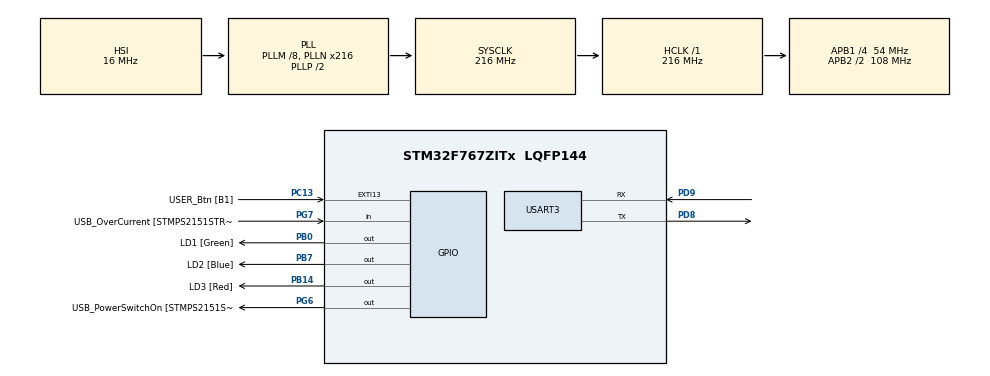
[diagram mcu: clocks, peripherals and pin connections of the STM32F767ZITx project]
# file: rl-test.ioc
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CORTEX_M7.CPU_DCache=Enabled
CORTEX_M7.CPU_ICache=Enabled
Mcu.Family=STM32F7
Mcu.Name=STM32F767ZITx
Mcu.Package=LQFP144
NVIC.PriorityGroup=NVIC_PRIORITYGROUP_4
PA13.Mode=Serial_Wire
PA13.Signal=SYS_JTMS-SWDIO
PA14.Mode=Serial_Wire
PA14.Signal=SYS_JTCK-SWCLK
PB0.GPIO_Label=LD1 [Green]
PB0.Signal=GPIO_Output
PB14.GPIO_Label=LD3 [Red]
PB14.Signal=GPIO_Output
PB7.GPIO_Label=LD2 [Blue]
PB7.Signal=GPIO_Output
PC13.GPIO_Label=USER_Btn [B1]
PC13.Signal=GPXTI13
PC14/OSC32_IN.Mode=LSE-External-Oscillator
PC14/OSC32_IN.Signal=RCC_OSC32_IN
PC15/OSC32_OUT.Mode=LSE-External-Oscillator
PC15/OSC32_OUT.Signal=RCC_OSC32_OUT
PD8.Mode=Asynchronous
PD8.Signal=USART3_TX
PD9.Mode=Asynchronous
PD9.Signal=USART3_RX
PG6.GPIO_Label=USB_PowerSwitchOn [STMPS2151STR_EN]
PG6.Signal=GPIO_Output
PG7.GPIO_Label=USB_OverCurrent [STMPS2151STR_FAULT]
PG7.Signal=GPIO_Input
PH0/OSC_IN.Mode=HSE-External-Oscillator
PH0/OSC_IN.Signal=RCC_OSC_IN
PH1/OSC_OUT.Mode=HSE-External-Oscillator
PH1/OSC_OUT.Signal=RCC_OSC_OUT
ProjectManager.HeapSize=0x200
ProjectManager.StackSize=0x800
ProjectManager.TargetToolchain=MDK-ARM V5.27
RCC.48MHZClocksFreq_Value=24000000
RCC.AHBFreq_Value=216000000
RCC.APB1CLKDivider=RCC_HCLK_DIV4
RCC.APB1Freq_Value=54000000
RCC.APB1TimFreq_Value=108000000
RCC.APB2CLKDivider=RCC_HCLK_DIV2
RCC.APB2Freq_Value=108000000
RCC.APB2TimFreq_Value=216000000
RCC.CortexFreq_Value=216000000
RCC.HCLKFreq_Value=216000000
RCC.HSE_VALUE=16000000
RCC.HSI_VALUE=16000000
RCC.PLLM=8
RCC.PLLMUL=RCC_PLL_MUL9
RCC.PLLN=216
RCC.PRESCALERUSB=RCC_USBCLKSOURCE_PLL_DIV1_5
RCC.SYSCLKFreq_VALUE=216000000
RCC.SYSCLKSource=RCC_SYSCLKSOURCE_PLLCLK
RCC.SYSCLKSourceVirtual=RCC_SYSCLKSOURCE_PLLCLK
RCC.USBFreq_Value=216000000
RCC.VCOOutputFreq_Value=432000000
STMicroelectronics.X-CUBE-AI.5.2.0.ActivationBufferSizeList=1052
STMicroelectronics.X-CUBE-AI.5.2.0.ArtificialOoIntelligenceJjXAaCUBEAaAI.cmp_version0=5.2.0
STMicroelectronics.X-CUBE-AI.5.2.0.ArtificialOoIntelligenceJjXAaCUBEAaAI.component0=Artificial Intelligence
STMicroelectronics.X-CUBE-AI.5.2.0.ArtificialOoIntelligenceJjXAaCUBEAaAI.componentDoc0=nofile
STMicroelectronics.X-CUBE-AI.5.2.0.ArtificialOoIntelligenceJjXAaCUBEAaAI.description0=AI Core,Artificial Intelligence for STM32
STMicroelectronics.X-CUBE-AI.5.2.0.ArtificialOoIntelligenceJjXAaCUBEAaAI.diagnostic0=This component should operate correctly.
STMicroelectronics.X-CUBE-AI.5.2.0.ArtificialOoIntelligenceJjXAaCUBEAaAI.documentation0=Documentation/index.html
STMicroelectronics.X-CUBE-AI.5.2.0.ArtificialOoIntelligenceJjXAaCUBEAaAI.group0=Core
STMicroelectronics.X-CUBE-AI.5.2.0.ArtificialOoIntelligenceJjXAaCUBEAaAI.paramName0=XAaCUBEAaAICcArtificialOoIntelligenceJjCore
STMicroelectronics.X-CUBE-AI.5.2.0.ArtificialOoIntelligenceJjXAaCUBEAaAI.sevirity0=none
STMicroelectronics.X-CUBE-AI.5.2.0.ArtificialOoIntelligenceJjXAaCUBEAaAI_bundle=X-CUBE-AI
STMicroelectronics.X-CUBE-AI.5.2.0.ArtificialOoIntelligenceJjXAaCUBEAaAI_class=ArtificialOoIntelligence
STMicroelectronics.X-CUBE-AI.5.2.0.ArtificialOoIntelligenceJjXAaCUBEAaAI_name=X-CUBE-AI
STMicroelectronics.X-CUBE-AI.5.2.0.ArtificialOoIntelligenceJjXAaCUBEAaAI_size=1
STMicroelectronics.X-CUBE-AI.5.2.0.ArtificialOoIntelligenceJjXAaCUBEAaAI_vendor=STMicroelectronics
STMicroelectronics.X-CUBE-AI.5.2.0.ArtificialOoIntelligenceJjXAaCUBEAaAI_version=5.2.0
STMicroelectronics.X-CUBE-AI.5.2.0.HeapSize=0x200
STMicroelectronics.X-CUBE-AI.5.2.0.InternalRamActivationBufferMaxSize=AI_ZEPHYRUS_NETWORK_DATA_ACTIVATIONS_SIZE
STMicroelectronics.X-CUBE-AI.5.2.0.LatestDirectoryUsed-74f45e24488c60db5654ed647c01e4a0a6cbb15d26c9d86695b8b70995334cff=C\:\\Users\\hugoc\\Desktop\\Notebook v1
STMicroelectronics.X-CUBE-AI.5.2.0.MaximumNumberOfInputLayer=1
STMicroelectronics.X-CUBE-AI.5.2.0.MaximumNumberOfOutputLayer=2
STMicroelectronics.X-CUBE-AI.5.2.0.MaximumSizeOfInputLayer=AI_ZEPHYRUS_NETWORK_IN_1_SIZE_BYTES
STMicroelectronics.X-CUBE-AI.5.2.0.MaximumSizeOfOutputLayer=AI_ZEPHYRUS_NETWORK_OUT_1_SIZE_BYTES,AI_ZEPHYRUS_NETWORK_OUT_2_SIZE_BYTES
STMicroelectronics.X-CUBE-AI.5.2.0.ModelActualCompression-74f45e24488c60db5654ed647c01e4a0a6cbb15d26c9d86695b8b70995334cff=0.0
STMicroelectronics.X-CUBE-AI.5.2.0.ModelCompression-74f45e24488c60db5654ed647c01e4a0a6cbb15d26c9d86695b8b70995334cff=1
STMicroelectronics.X-CUBE-AI.5.2.0.ModelFlashOccupation-74f45e24488c60db5654ed647c01e4a0a6cbb15d26c9d86695b8b70995334cff=4108
STMicroelectronics.X-CUBE-AI.5.2.0.ModelHashList=74f45e24488c60db5654ed647c01e4a0a6cbb15d26c9d86695b8b70995334cff
STMicroelectronics.X-CUBE-AI.5.2.0.ModelKind-74f45e24488c60db5654ed647c01e4a0a6cbb15d26c9d86695b8b70995334cff=TFLITE
STMicroelectronics.X-CUBE-AI.5.2.0.ModelMacc-74f45e24488c60db5654ed647c01e4a0a6cbb15d26c9d86695b8b70995334cff=1024
STMicroelectronics.X-CUBE-AI.5.2.0.ModelName-74f45e24488c60db5654ed647c01e4a0a6cbb15d26c9d86695b8b70995334cff=zephyrus_network
STMicroelectronics.X-CUBE-AI.5.2.0.ModelNameList=zephyrus_network
STMicroelectronics.X-CUBE-AI.5.2.0.ModelRamOccupation-74f45e24488c60db5654ed647c01e4a0a6cbb15d26c9d86695b8b70995334cff=1052
STMicroelectronics.X-CUBE-AI.5.2.0.ModelStructureFile-74f45e24488c60db5654ed647c01e4a0a6cbb15d26c9d86695b8b70995334cff=C\:\\Users\\hugoc\\Desktop\\Notebook v1\\zephyrus-rl-model.tflite
STMicroelectronics.X-CUBE-AI.5.2.0.ModelType-74f45e24488c60db5654ed647c01e4a0a6cbb15d26c9d86695b8b70995334cff=Saved model
STMicroelectronics.X-CUBE-AI.5.2.0.StackSize=0x800
STMicroelectronics.X-CUBE-AI.5.2.0.WorkingBufferStartAddrList=0xFFFFFFFF
STMicroelectronics.X-CUBE-AI.5.2.0.XAaCUBEAaAICcArtificialOoIntelligenceJjCore=true
STMicroelectronics.X-CUBE-AI.5.2.0_ArtificialOoIntelligenceJjApplication_RteComponentsize=0
STMicroelectronics.X-CUBE-AI.5.2.0_ArtificialOoIntelligenceJjXAaCUBEAaAI_RteComponentsize=0
STMicroelectronics.X-CUBE-AI.5.2.0_MwName0=X-CUBE-AI
STMicroelectronics.X-CUBE-AI.5.2.0_NumberOfMw=1
STMicroelectronics.X-CUBE-AI.5.2.0_description=Artificial Intelligence
STMicroelectronics.X-CUBE-AI.5.2.0_license=SLA0048.txt
TIM14.Period=65536-1
TIM14.Prescaler=108-1
USART3.VirtualMode-Asynchronous=VM_ASYNC
VP_CRC_VS_CRC.Mode=CRC_Activate
VP_STMicroelectronics.X-CUBE-AI_VS_ArtificialOoIntelligenceJjApplication_5.2.0.Mode=ArtificialOoIntelligenceJjApplication
VP_STMicroelectronics.X-CUBE-AI_VS_ArtificialOoIntelligenceJjXAaCUBEAaAI_5.2.0.Mode=ArtificialOoIntelligenceJjXAaCUBEAaAI
VP_TIM14_VS_ClockSourceINT.Mode=Enable_Timer
board=NUCLEO-F767ZI

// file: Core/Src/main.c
/* USER CODE BEGIN Header */
/**
  ******************************************************************************
  * @file           : main.c
  * @brief          : Main program body
  ******************************************************************************
  * @attention
  *
  * <h2><center>&copy; Copyright (c) 2021 STMicroelectronics.
  * All rights reserved.</center></h2>
  *
  * This software component is licensed by ST under Ultimate Liberty license
  * SLA0044, the "License"; You may not use this file except in compliance with
  * the License. You may obtain a copy of the License at:
  *                             www.st.com/SLA0044
  *
  ******************************************************************************
  */
/* USER CODE END Header */

#include "main.h"
#include "crc.h"
#include "tim.h"
#include "usart.h"
#include "gpio.h"
#include "app_x-cube-ai.h"
#include "zephyrus_network_data.h"

/* USER CODE BEGIN Includes */
#include "stdio.h"
#include "zephyrus_network.h"
#include "zephyrus_network_data.h"
/* USER CODE END Includes */

/* USER CODE BEGIN PTD */
char buf[50];
int buf_len = 0;
ai_error ai_err;
ai_i32 nbatch;
uint32_t timestamp;
float y_val;

static const ai_u8 s_zephyrus_network_weights[ 4108 ] = {
    0x87, 0x0a, 0xc0, 0xbc, 0x43, 0x7b, 0x8a, 0x3e, 0x29, 0x53,
    0xcd, 0x3d, 0x2f, 0xa0, 0x40, 0xbe, 0x0a, 0x84, 0xf6, 0xbd,
    0x7e, 0x25, 0x9e, 0xbd, 0x3f, 0x83, 0xed, 0x3d, 0xdc, 0x3a,
    0x82, 0xbd, 0x20, 0xfc, 0xf9, 0xbd, 0x0a, 0xf7, 0x5b, 0xbe,
    0x8b, 0x31, 0xd3, 0x3b, 0x92, 0x65, 0x02, 0xbe, 0x7d, 0x63,
    0x34, 0x3d, 0xb9, 0x79, 0x3d, 0xbd, 0x33, 0x42, 0x63, 0xbd,
    0x94, 0x5d, 0x1c, 0xbd, 0x33, 0xcb, 0xad, 0xbe, 0x13, 0x50,
    0x26, 0x3d, 0x4e, 0x49, 0x8e, 0xbd, 0xd4, 0x57, 0x0c, 0x3e,
    0xae, 0x45, 0xc4, 0x3c, 0x90, 0x61, 0x23, 0x3d, 0x48, 0x83,
    0x8f, 0xbd, 0xb1, 0x59, 0x14, 0xbe, 0x0c, 0x5a, 0x30, 0x3d,
    0x85, 0x8e, 0x56, 0xbd, 0xb7, 0xbe, 0xee, 0xbc, 0x07, 0x86,
    0x90, 0xbd, 0x13, 0x0b, 0xd5, 0x3d, 0xea, 0xff, 0xed, 0xbc,
    0xa5, 0x29, 0xe6, 0xbd, 0x9c, 0x4a, 0xd2, 0x3d, 0x43, 0x40,
    0x34, 0xbe, 0x5d, 0x94, 0xbc, 0xbc, 0xa1, 0xaf, 0xdf, 0x3d,
    0xf5, 0x8f, 0x52, 0xbe, 0xba, 0xf5, 0x30, 0xbe, 0xca, 0x7e,
    0x2a, 0xbe, 0x26, 0x68, 0x5d, 0xbd, 0x5f, 0xf9, 0x3e, 0x3d,
    0xc8, 0x64, 0x37, 0xbe, 0xfc, 0xcf, 0x8b, 0x3e, 0x62, 0x2a,
    0x3e, 0x3b, 0x01, 0x56, 0xde, 0x3d, 0xa0, 0x4b, 0x11, 0x3d,
    0xa3, 0xfc, 0xca, 0x3d, 0x99, 0xed, 0x45, 0xbd, 0xa6, 0xdd,
    0x89, 0x3d, 0x46, 0x86, 0x8c, 0xbe, 0x70, 0x85, 0x4f, 0x3e,
    0x3b, 0x3c, 0x9f, 0xbd, 0x57, 0xfc, 0x88, 0x3d, 0xbd, 0x13,
    0x1f, 0xbd, 0x6a, 0xec, 0x41, 0xbd, 0xad, 0x5e, 0xf6, 0x3c,
    0xba, 0x5f, 0xc9, 0xbc, 0x1d, 0x69, 0x80, 0xbd, 0xfd, 0x56,
    0x88, 0xbc, 0x5a, 0xf1, 0xe1, 0x3d, 0x38, 0x02, 0x3a, 0x3e,
    0x64, 0xc2, 0x51, 0x3e, 0x5d, 0x12, 0x62, 0xbe, 0x38, 0xe4,
    0x3b, 0xbe, 0xe4, 0xa7, 0xe9, 0x3d, 0x37, 0xf2, 0xa5, 0xbe,
    0x43, 0x4e, 0x2b, 0x3e, 0x0f, 0xd2, 0xe8, 0x3d, 0x7a, 0x39,
    0x62, 0xbc, 0x0e, 0x5b, 0xbf, 0xbd, 0xea, 0x7e, 0xe6, 0x3d,
    0x64, 0x9c, 0xd3, 0xbd, 0x58, 0x1d, 0x99, 0x3d, 0x6a, 0x90,
    0x00, 0xbb, 0xe1, 0xaf, 0x22, 0xbe, 0x63, 0x9f, 0xa6, 0xbb,
    0x07, 0x95, 0x94, 0xbc, 0xf8, 0x7a, 0x73, 0xbe, 0xb8, 0xec,
    0x6c, 0x3e, 0x9a, 0x22, 0x50, 0xbe, 0xaf, 0xee, 0x69, 0xbe,
    0x65, 0x88, 0x03, 0xbb, 0x0f, 0xd8, 0x88, 0x3e, 0x39, 0x00,
    0x8e, 0xbd, 0x67, 0x98, 0xfa, 0x3d, 0x6d, 0xf8, 0x22, 0xbd,
    0x1a, 0x0c, 0xf4, 0x3d, 0xde, 0x65, 0x0b, 0x3d, 0x4f, 0x6a,
    0x08, 0xbe, 0x91, 0xe9, 0x83, 0xbe, 0x77, 0x15, 0x61, 0x3e,
    0x70, 0x13, 0x3e, 0xbe, 0x07, 0x52, 0x2f, 0xbe, 0x64, 0x71,
    0xa8, 0x3c, 0xe3, 0xfc, 0x7c, 0xbe, 0x82, 0xb8, 0x9f, 0xbc,
    0xb4, 0x35, 0x95, 0xbd, 0x67, 0x1e, 0x5e, 0x3c, 0x6e, 0xed,
    0x01, 0x3e, 0x1c, 0x7c, 0x0e, 0xbd, 0xee, 0x27, 0x94, 0xbd,
    0x87, 0xab, 0x21, 0xbe, 0xda, 0xe5, 0x81, 0x3e, 0x51, 0x6b,
    0x1e, 0x3d, 0xc2, 0x10, 0x03, 0x3e, 0x87, 0xa9, 0x3a, 0xbd,
    0x98, 0x6c, 0xe9, 0x3c, 0xf6, 0x85, 0x1d, 0x3e, 0x0a, 0x28,
    0xda, 0xbd, 0x51, 0x1b, 0x3b, 0xbe, 0x91, 0x4d, 0x57, 0xbe,
    0xc6, 0x49, 0xb2, 0x3d, 0x77, 0x6b, 0x84, 0xbd, 0x01, 0x86,
    0xba, 0x3d, 0xf7, 0x78, 0x88, 0x3d, 0xaf, 0x9b, 0xf1, 0x3d,
    0x31, 0x4e, 0x6e, 0x3c, 0x4c, 0x5d, 0xad, 0xbd, 0x76, 0x86,
    0x4b, 0x3d, 0x0e, 0xb1, 0x51, 0x3b, 0x12, 0xf5, 0x1b, 0xbe,
    0x66, 0x16, 0x07, 0x3e, 0x5f, 0xd4, 0x4e, 0xbe, 0x19, 0x3c,
    0xd5, 0x3d, 0x07, 0x6e, 0x45, 0xbe, 0xb9, 0xb4, 0x2a, 0xbe,
    0x91, 0x76, 0x02, 0x3e, 0x9c, 0xb9, 0x44, 0x3c, 0x20, 0xf9,
    0xed, 0xbd, 0xde, 0xc4, 0x96, 0x3d, 0xec, 0x44, 0xbf, 0xbd,
    0x0c, 0x12, 0x16, 0x3e, 0xec, 0x75, 0xc6, 0x3d, 0x9d, 0x18,
    0xbd, 0xbd, 0x74, 0xff, 0xb0, 0xbd, 0xb5, 0xde, 0xea, 0xbd,
    0x4b, 0x0c, 0xd4, 0xbd, 0xe2, 0xc9, 0xbe, 0xbd, 0x33, 0xef,
    0x9e, 0x3d, 0x3f, 0x70, 0xc0, 0x3d, 0x4c, 0x3a, 0x16, 0xbe,
    0x63, 0x97, 0x53, 0xbe, 0x3c, 0xbe, 0xf6, 0x3d, 0x3d, 0xf0,
    0x29, 0x3d, 0x0a, 0xd9, 0x33, 0x3c, 0x28, 0x65, 0xb4, 0x3d,
    0x4f, 0x18, 0x5a, 0x3c, 0xcb, 0xdf, 0x19, 0x3e, 0x37, 0x73,
    0x2b, 0xbe, 0x05, 0x40, 0xcb, 0x3d, 0xea, 0xd2, 0xc4, 0x3d,
    0xb3, 0x18, 0x25, 0xbd, 0x92, 0x97, 0xa5, 0xbd, 0x0d, 0xd9,
    0x58, 0xbe, 0xb5, 0xae, 0xfd, 0xbc, 0x10, 0xda, 0x34, 0xbd,
    0xc9, 0xc3, 0x98, 0x3d, 0x60, 0x46, 0xe6, 0xbc, 0xa7, 0x4e,
    0x65, 0x3e, 0x91, 0xd4, 0xb4, 0x3d, 0xad, 0x69, 0x9c, 0xbd,
    0xa6, 0x4f, 0x2f, 0xbe, 0x73, 0x5a, 0x42, 0xbe, 0x6e, 0x4a,
    0x37, 0xbc, 0x11, 0x12, 0xdc, 0x3d, 0x98, 0xd1, 0x85, 0x3d,
    0xf4, 0xae, 0x61, 0x3d, 0xac, 0x8a, 0xc8, 0xbc, 0x06, 0x56,
    0x50, 0x3d, 0xae, 0x36, 0x0f, 0x3e, 0xac, 0x14, 0x75, 0xbe,
    0xa1, 0xf2, 0x51, 0x3d, 0x16, 0x42, 0x80, 0x3d, 0x83, 0x4b,
    0x74, 0xbe, 0xd5, 0xbb, 0x69, 0x3d, 0xed, 0x04, 0x12, 0xbe,
    0x6a, 0x59, 0x05, 0xbe, 0xf8, 0x86, 0x01, 0x3d, 0x85, 0xb4,
    0xc8, 0xba, 0x25, 0x1d, 0x1a, 0xbc, 0x81, 0xbc, 0x06, 0x3d,
    0x5d, 0x2f, 0x5e, 0x3c, 0xcb, 0x3d, 0x4f, 0xbe, 0x08, 0x1a,
    0x0c, 0xbd, 0x0e, 0x4d, 0x2b, 0x3e, 0x65, 0x2e, 0x9e, 0xbd,
    0xe8, 0x7c, 0x90, 0x3d, 0x73, 0xd9, 0x62, 0xbe, 0x89, 0x6c,
    0x86, 0xbe, 0x12, 0x32, 0x4f, 0xbe, 0xee, 0xb1, 0xc8, 0x3a,
    0x24, 0xe0, 0x19, 0x3c, 0x93, 0x06, 0x86, 0xbe, 0x7c, 0x74,
    0x3f, 0x3d, 0xac, 0x94, 0x33, 0xbc, 0x7f, 0x59, 0x1d, 0xbe,
    0x81, 0xa3, 0x81, 0x3e, 0x80, 0x75, 0x06, 0xbe, 0x94, 0x59,
    0x74, 0xbe, 0x70, 0x03, 0x47, 0xbc, 0x9a, 0xec, 0xf1, 0x3d,
    0x93, 0x6a, 0x3d, 0xbd, 0x89, 0x06, 0x94, 0xbd, 0xe3, 0x0e,
    0xcc, 0xbb, 0x14, 0x71, 0x5c, 0xbe, 0xb1, 0xdd, 0xf7, 0xbd,
    0xa5, 0x74, 0x12, 0x3d, 0xa8, 0x9b, 0x3a, 0xbe, 0x5f, 0xbc,
    0x59, 0xbd, 0x2d, 0x0c, 0x25, 0x3e, 0x3e, 0x0d, 0xca, 0xbb,
    0x32, 0xb9, 0x18, 0xbe, 0xb4, 0x38, 0x12, 0x3d, 0x4f, 0x42,
    0x11, 0x3d, 0xe4, 0xec, 0x6b, 0xbe, 0xf4, 0x35, 0x1b, 0x3b,
    0xea, 0xab, 0x93, 0x3d, 0x42, 0x36, 0x3c, 0xbe, 0x4c, 0xfd,
    0x17, 0xbb, 0x70, 0x73, 0x14, 0xbe, 0xe8, 0xe5, 0x00, 0x3e,
    0x01, 0x79, 0x60, 0x3d, 0xc8, 0x52, 0x75, 0x3d, 0xe4, 0x56,
    0x33, 0x3e, 0x3a, 0x8c, 0x5d, 0xbe, 0xef, 0x4e, 0xce, 0xbd,
    0x23, 0x4c, 0x46, 0x3e, 0x94, 0xdd, 0x7e, 0xbe, 0xf6, 0x4f,
    0x8e, 0xbe, 0x0f, 0x00, 0x42, 0xbe, 0x99, 0x2c, 0xe5, 0xbd,
    0xd2, 0x83, 0x0a, 0xbc, 0x74, 0xcd, 0x2b, 0xbe, 0x82, 0xb1,
    0x13, 0x3c, 0x8d, 0x83, 0x17, 0xbd, 0x91, 0x1c, 0x2d, 0x3e,
    0xaa, 0x56, 0x03, 0x3e, 0xa4, 0x78, 0x03, 0xbe, 0xb7, 0x53,
    0x85, 0xbe, 0x0f, 0xf0, 0x0a, 0x3e, 0xfd, 0x19, 0x16, 0xbe,
    0x95, 0x41, 0x1c, 0xbe, 0x14, 0x79, 0x11, 0xbd, 0x22, 0x6b,
    0xc7, 0x3d, 0x4e, 0xc0, 0x7c, 0xbe, 0x7d, 0xd1, 0x08, 0xbe,
    0x17, 0x2d, 0xb6, 0xbd, 0xab, 0x89, 0x20, 0xbe, 0x79, 0x88,
    0xbd, 0xbd, 0x94, 0x1f, 0x18, 0xbc, 0xda, 0xeb, 0x9a, 0x3d,
    0xa0, 0xb5, 0xf7, 0xbc, 0xc6, 0x0b, 0x8b, 0xbd, 0x87, 0xbc,
    0xa7, 0x3c, 0xec, 0xc6, 0xa3, 0x3c, 0x57, 0x1c, 0x24, 0xbd,
    0x34, 0x9d, 0xe2, 0x3d, 0xdb, 0x65, 0xee, 0xbd, 0x37, 0x7c,
    0x0b, 0xbe, 0x11, 0x64, 0x1a, 0xbe, 0x27, 0x87, 0xd2, 0x3d,
    0x9e, 0x79, 0x9b, 0xbd, 0x3a, 0x4f, 0x5c, 0xbe, 0xd8, 0x62,
    0x08, 0xbd, 0xce, 0xbf, 0xd7, 0x3c, 0x99, 0x8a, 0x8b, 0xbe,
    0x22, 0x9a, 0xde, 0xbd, 0xbd, 0x52, 0x44, 0xbe, 0xb7, 0xeb,
    0x76, 0xbe, 0x62, 0xca, 0xf9, 0x3b, 0x28, 0xd1, 0x8d, 0xbd,
    0xed, 0xc2, 0x58, 0xbd, 0xc4, 0x95, 0x3f, 0x3e, 0x28, 0x12,
    0xcd, 0x3d, 0x2e, 0xdd, 0xa9, 0xbd, 0x3a, 0xf6, 0x16, 0x3e,
    0xd6, 0x34, 0xbf, 0xbd, 0xfb, 0xcc, 0xc5, 0xbc, 0xb4, 0x0d,
    0x4d, 0x3e, 0x29, 0x01, 0xc9, 0x3d, 0xf2, 0xff, 0x41, 0xbd,
    0xf8, 0x77, 0x4e, 0xbe, 0xb2, 0xd5, 0x17, 0x3e, 0xe0, 0x14,
    0x4d, 0x3e, 0xc5, 0x65, 0xde, 0xbd, 0xd3, 0xc2, 0x25, 0xbe,
    0xfc, 0xcd, 0x95, 0x3d, 0x7b, 0x5a, 0xea, 0xbd, 0x20, 0x15,
    0x00, 0x3e, 0x02, 0x7d, 0x01, 0xbe, 0x32, 0x99, 0x63, 0x3e,
    0xbb, 0x11, 0x19, 0xbe, 0xc8, 0x1f, 0xce, 0xbb, 0x9e, 0x01,
    0x80, 0xbe, 0xf6, 0xc2, 0xa0, 0x3e, 0x43, 0x4f, 0x1f, 0xbd,
    0x64, 0xa1, 0xd7, 0x3c, 0xcf, 0x0e, 0x2e, 0xbd, 0x2b, 0x91,
    0x90, 0x3d, 0x6e, 0x29, 0xb5, 0xbd, 0x38, 0x11, 0x21, 0xbe,
    0xdf, 0x12, 0x9b, 0xbb, 0x02, 0x13, 0xfe, 0x3d, 0x06, 0x5f,
    0x06, 0xbd, 0x02, 0x35, 0x92, 0xbd, 0xa8, 0xe0, 0x8b, 0x3d,
    0x92, 0x3d, 0x11, 0x3e, 0x6e, 0x4c, 0xb3, 0x3d, 0x2d, 0xe7,
    0xb4, 0x3d, 0xde, 0x7b, 0x7c, 0xbe, 0xbb, 0x0d, 0x5b, 0x3e,
    0xfe, 0xea, 0x88, 0xbc, 0xae, 0x6c, 0x2d, 0xbe, 0x9e, 0x8d,
    0x0e, 0xbb, 0x67, 0xe3, 0x24, 0xbe, 0xd5, 0x1d, 0xa3, 0xbc,
    0xbf, 0x85, 0x2d, 0x3c, 0x08, 0x4e, 0xdc, 0x3d, 0xcf, 0xc4,
    0x83, 0x3d, 0x21, 0xc8, 0xe2, 0xbd, 0x63, 0xc0, 0x78, 0x3c,
    0xd3, 0x73, 0x8d, 0xbe, 0xd6, 0xbe, 0x8b, 0x3e, 0x6a, 0xf7,
    0x14, 0x3e, 0x94, 0x20, 0x06, 0x3e, 0x12, 0x11, 0xe4, 0xbc,
    0xe7, 0x3d, 0x07, 0xbe, 0x9a, 0x55, 0xc0, 0xbd, 0xa3, 0xe3,
    0xba, 0x3c, 0xbf, 0xc9, 0xaa, 0x3d, 0x04, 0xb0, 0x57, 0x3e,
    0xa6, 0xd5, 0x3f, 0xbe, 0x6a, 0x3d, 0x09, 0xbe, 0xc7, 0x3d,
    0x95, 0xbe, 0xfa, 0x80, 0xef, 0xbc, 0x87, 0x23, 0x37, 0x3e,
    0x41, 0x24, 0x1e, 0xbe, 0x81, 0x0e, 0x41, 0xbe, 0x46, 0x1e,
    0xcf, 0x3a, 0x94, 0x50, 0x41, 0x3d, 0xa0, 0xf5, 0xa2, 0x3d,
    0xc4, 0x8d, 0x24, 0xbe, 0x8b, 0x68, 0xe2, 0x3d, 0x61, 0x95,
    0xdb, 0x3d, 0xb3, 0x4d, 0x64, 0xbe, 0x6e, 0xd6, 0x0f, 0xbe,
    0x4e, 0x80, 0x6e, 0xbe, 0x65, 0xec, 0x60, 0xbd, 0xed, 0xaa,
    0x0b, 0x3d, 0xa5, 0x27, 0x3e, 0x3d, 0x3e, 0x61, 0x2b, 0x3e,
    0x09, 0x80, 0x8a, 0x3b, 0x41, 0xb0, 0x1f, 0xbe, 0x97, 0x6b,
    0xea, 0xbc, 0x66, 0x09, 0xa2, 0xbd, 0xf5, 0x4f, 0x17, 0x3d,
    0xaa, 0x9e, 0xc7, 0xbd, 0x9f, 0xb7, 0xa1, 0xbc, 0x84, 0x1d,
    0x4e, 0xbe, 0x6b, 0x23, 0x81, 0xbd, 0xfe, 0x02, 0x36, 0x3c,
    0x4e, 0x5b, 0x7d, 0xbe, 0x20, 0x6b, 0x06, 0x3e, 0x63, 0x4c,
    0xcc, 0xbd, 0x74, 0xee, 0x8f, 0xba, 0x14, 0xd5, 0x55, 0xbc,
    0x5b, 0x56, 0x8c, 0x3e, 0x32, 0xb3, 0x89, 0xbe, 0x51, 0x55,
    0x56, 0x3d, 0x50, 0xb1, 0xf0, 0xbd, 0x2a, 0xea, 0x28, 0xbd,
    0x2f, 0xc7, 0x89, 0x3d, 0xb7, 0x1c, 0x00, 0xbe, 0xa3, 0x05,
    0x7e, 0xbe, 0x35, 0x68, 0xd9, 0xbd, 0xbc, 0x56, 0xf2, 0xbc,
    0x42, 0x96, 0xaa, 0xbc, 0x1a, 0x05, 0x51, 0xbe, 0x97, 0xce,
    0x82, 0xbd, 0x79, 0xa5, 0x08, 0xbe, 0x8e, 0x96, 0x48, 0x3b,
    0xba, 0x4f, 0x75, 0x3d, 0x90, 0x42, 0x4f, 0xbb, 0xab, 0x8d,
    0x89, 0x3d, 0x07, 0x18, 0x2f, 0x3e, 0xa1, 0x4c, 0xc6, 0x3d,
    0xee, 0xa7, 0x9b, 0x3e, 0x56, 0x8c, 0x2f, 0x3d, 0x88, 0xf2,
    0xb9, 0x3d, 0x6c, 0x84, 0x6d, 0xbe, 0xcd, 0xc4, 0x83, 0xbe,
    0x25, 0x60, 0x0b, 0x3e, 0x62, 0xc0, 0x39, 0xbd, 0x48, 0xe4,
    0xa6, 0xbe, 0x02, 0x89, 0x2c, 0x3e, 0xd5, 0x58, 0x00, 0xbe,
    0x32, 0x7b, 0x9a, 0x3d, 0x4c, 0xb3, 0x60, 0xbd, 0x73, 0x1e,
    0xe5, 0xbd, 0xd8, 0x1f, 0x83, 0xbe, 0x69, 0x2c, 0x14, 0x3e,
    0x24, 0x98, 0xea, 0xbd, 0x66, 0xe1, 0x46, 0xbe, 0x3f, 0x02,
    0xe2, 0x3b, 0x45, 0x93, 0x1b, 0xbe, 0x88, 0xc9, 0xf2, 0xbd,
    0x9a, 0xea, 0xa2, 0xbd, 0xae, 0x43, 0x47, 0xbe, 0xa3, 0xc5,
    0xa4, 0x3d, 0x75, 0x49, 0x10, 0xbb, 0x30, 0x8a, 0xbe, 0xb9,
    0xed, 0x15, 0x0a, 0xbe, 0xf7, 0x00, 0xca, 0xbd, 0x8a, 0x79,
    0x2d, 0x3d, 0x7e, 0xca, 0x6f, 0x3e, 0xa0, 0x93, 0x18, 0x3e,
    0x89, 0xa3, 0x3e, 0x3e, 0xbf, 0xb7, 0xa9, 0xbd, 0xe5, 0xb2,
    0xb2, 0x3d, 0xc9, 0x1b, 0x87, 0xbd, 0xd5, 0xb6, 0x2d, 0xbe,
    0x67, 0x02, 0x62, 0xbe, 0xe1, 0xaa, 0x01, 0x3e, 0x6b, 0xd9,
    0x43, 0xbe, 0xcc, 0x93, 0x3c, 0xbe, 0x3b, 0xeb, 0xed, 0xba,
    0xba, 0x58, 0x09, 0xbe, 0x7c, 0x40, 0x38, 0x3c, 0x35, 0xdd,
    0xaa, 0x3d, 0x92, 0x00, 0x71, 0xbe, 0xb2, 0x16, 0xb9, 0x3d,
    0xa9, 0xa5, 0xe0, 0x3d, 0x27, 0x23, 0xdd, 0xbd, 0xc1, 0xb4,
    0xdb, 0x3d, 0xd3, 0x71, 0x8d, 0xbe, 0x42, 0x27, 0x7b, 0xbd,
    0x6c, 0x96, 0x08, 0xbe, 0xd0, 0x93, 0xa6, 0x3d, 0x3d, 0x4b,
    0x25, 0x3e, 0x33, 0x55, 0x4e, 0xbe, 0x49, 0xf8, 0x37, 0xbd,
    0x40, 0x5a, 0x64, 0xbd, 0x21, 0xb9, 0xec, 0x3d, 0xad, 0xf3,
    0x10, 0xbe, 0x77, 0xc8, 0x58, 0xbc, 0x9c, 0x49, 0xeb, 0xbd,
    0x1e, 0x56, 0xcd, 0x3d, 0x59, 0x57, 0x84, 0xbe, 0xe4, 0x2e,
    0x08, 0x3e, 0x0c, 0x5d, 0x84, 0xbe, 0x2b, 0x2a, 0x19, 0x3e,
    0x74, 0xdd, 0x50, 0xbe, 0x5c, 0x66, 0x06, 0xbe, 0xe7, 0xcd,
    0x33, 0xbe, 0x92, 0xad, 0x20, 0x3e, 0xaa, 0xbc, 0x63, 0xbe,
    0x13, 0x72, 0x05, 0xbe, 0xf0, 0xfc, 0xb8, 0x3d, 0xe8, 0x53,
    0xc6, 0xbd, 0xb7, 0x17, 0x8f, 0xbe, 0xae, 0x59, 0x10, 0xbe,
    0x38, 0x8f, 0x6e, 0x3d, 0x27, 0x0e, 0x72, 0x3d, 0x6f, 0x54,
    0x00, 0xbc, 0x43, 0x38, 0x0e, 0x3d, 0xf4, 0xbf, 0x4c, 0xbd,
    0x80, 0x66, 0xda, 0x3d, 0xd7, 0xd2, 0x88, 0xbe, 0x93, 0xed,
    0x6a, 0xbd, 0x8f, 0x9c, 0xde, 0xb8, 0xff, 0x2c, 0x1b, 0xbe,
    0x1a, 0x65, 0x2c, 0xbc, 0xdf, 0x6b, 0x63, 0x3e, 0x5d, 0xe6,
    0x41, 0xbe, 0xa1, 0x7d, 0xc7, 0x3c, 0x8a, 0x82, 0x77, 0xbe,
    0x27, 0xac, 0x43, 0xbe, 0xfa, 0xe4, 0xba, 0xbd, 0x5e, 0xb1,
    0x8c, 0x3d, 0xb9, 0x72, 0xff, 0xbd, 0x11, 0x8e, 0xed, 0xbc,
    0x72, 0xd1, 0x66, 0xbe, 0x57, 0x5d, 0x02, 0x3e, 0xa3, 0x51,
    0xcd, 0x3d, 0x21, 0x36, 0xa3, 0xbd, 0x48, 0x05, 0x93, 0xbe,
    0xfe, 0xa5, 0x6f, 0xbd, 0x08, 0xee, 0x13, 0xbe, 0x23, 0x3a,
    0x7a, 0xbd, 0x4a, 0xa7, 0x44, 0xbe, 0xfd, 0xe8, 0xa8, 0xbc,
    0x6e, 0xd0, 0x1c, 0x3e, 0x79, 0x62, 0x48, 0xbc, 0x55, 0xb3,
    0x16, 0xbc, 0x1f, 0x6c, 0x36, 0x3d, 0xbc, 0xa0, 0x8a, 0x3d,
    0x5f, 0x50, 0x18, 0xbe, 0x94, 0x95, 0x0a, 0xba, 0x23, 0xc0,
    0x02, 0xbd, 0x81, 0xad, 0xc6, 0xbc, 0xd9, 0xb2, 0x0a, 0xbe,
    0x98, 0x58, 0x58, 0xbe, 0x34, 0x6a, 0xbf, 0x3d, 0xbe, 0xbc,
    0x82, 0xbe, 0xdd, 0xde, 0xdb, 0xbd, 0x77, 0xfa, 0x8b, 0xbd,
    0x39, 0x7c, 0x65, 0x3e, 0xd4, 0xa5, 0x39, 0xbe, 0x2e, 0x14,
    0x9c, 0x3d, 0x2b, 0x9c, 0x64, 0xbd, 0xfc, 0xa3, 0x84, 0x3d,
    0xb8, 0x77, 0x26, 0x3d, 0x8a, 0x34, 0x0e, 0x3e, 0x8e, 0x03,
    0xce, 0x3d, 0xf5, 0x3b, 0xae, 0x3d, 0x12, 0x06, 0x73, 0xbd,
    0x22, 0x04, 0x73, 0xbd, 0x36, 0x57, 0x25, 0x3d, 0x27, 0x67,
    0x60, 0xbd, 0x14, 0x06, 0x73, 0xbd, 0x29, 0x67, 0x60, 0xbd,
    0x14, 0x06, 0x73, 0xbd, 0x20, 0x67, 0x60, 0xbd, 0xb0, 0xa5,
    0xc7, 0x3d, 0x13, 0x06, 0x73, 0xbd, 0xa7, 0x8b, 0xcd, 0x3d,
    0x13, 0x06, 0x73, 0xbd, 0x39, 0xe4, 0xc8, 0x3d, 0x6c, 0xf9,
    0x67, 0xbc, 0x85, 0xd4, 0xd5, 0x3d, 0x13, 0x11, 0xb1, 0x3d,
    0x11, 0x06, 0x73, 0xbd, 0x2f, 0x27, 0xa0, 0x3d, 0x3a, 0xed,
    0xa1, 0x3d, 0x15, 0x06, 0x73, 0xbd, 0x86, 0xf5, 0xa7, 0x3d,
    0x29, 0x67, 0x60, 0xbd, 0x28, 0x67, 0x60, 0xbd, 0x3f, 0x14,
    0xde, 0x3d, 0xde, 0xee, 0xd6, 0x3d, 0x14, 0x06, 0x73, 0xbd,
    0x12, 0x06, 0x73, 0xbd, 0x13, 0x06, 0x73, 0xbd, 0x10, 0x06,
    0x73, 0xbd, 0x29, 0x67, 0x60, 0xbd, 0x13, 0x06, 0x73, 0xbd,
    0x2e, 0xf0, 0xb0, 0x3d, 0x68, 0xa0, 0xd5, 0x3d, 0x40, 0xaf,
    0xe1, 0x3d, 0x15, 0x06, 0x73, 0xbd, 0x0f, 0x06, 0x73, 0xbd,
    0x6d, 0x09, 0xa7, 0x3d, 0xdf, 0xf9, 0x97, 0x3d, 0x13, 0x06,
    0x73, 0xbd, 0x2c, 0x67, 0x60, 0xbd, 0x12, 0x06, 0x73, 0xbd,
    0xd2, 0xc6, 0x60, 0xbd, 0x2c, 0xfe, 0xb9, 0x3d, 0x28, 0x67,
    0x60, 0xbd, 0x43, 0x28, 0x8b, 0x3d, 0x13, 0x06, 0x73, 0xbd,
    0x1f, 0x67, 0x60, 0xbd, 0x29, 0x67, 0x60, 0xbd, 0x2b, 0x2e,
    0xc6, 0x3d, 0xcf, 0xda, 0x9a, 0x3d, 0x0b, 0x5a, 0x4d, 0xbd,
    0x13, 0x06, 0x73, 0xbd, 0x8a, 0xb7, 0xa0, 0x3d, 0xa4, 0xb0,
    0xe4, 0x3d, 0x4e, 0x76, 0x9a, 0x3d, 0x13, 0x06, 0x73, 0xbd,
    0x2f, 0xe0, 0x8a, 0x3d, 0x13, 0x06, 0x73, 0xbd, 0x15, 0x06,
    0x73, 0xbd, 0x28, 0x67, 0x60, 0xbd, 0x28, 0x67, 0x60, 0xbd,
    0x26, 0xcb, 0xd1, 0x3d, 0xde, 0x25, 0x24, 0x3d, 0x13, 0x06,
    0x73, 0xbd, 0x77, 0x5b, 0x93, 0x3d, 0x28, 0x67, 0x60, 0xbd,
    0xb1, 0x27, 0xc7, 0x3d, 0x6b, 0x75, 0xc7, 0x3d, 0xc9, 0x5c,
    0xbf, 0x3d, 0xf5, 0xde, 0xaa, 0x3d, 0xe4, 0xf2, 0xb2, 0x3d,
    0xf3, 0x53, 0xdc, 0x3d, 0x29, 0x67, 0x60, 0xbd, 0x96, 0x67,
    0xc5, 0x3d, 0x92, 0x98, 0x86, 0x3d, 0x61, 0x78, 0x45, 0x3d,
    0x28, 0x67, 0x60, 0xbd, 0x66, 0x5e, 0xcc, 0x3d, 0x89, 0x6c,
    0xdb, 0x3d, 0x28, 0x04, 0x73, 0xbd, 0xb9, 0x82, 0x4c, 0x3d,
    0x8e, 0x31, 0x94, 0x3d, 0x2b, 0x51, 0x85, 0x3d, 0x11, 0x06,
    0x73, 0xbd, 0x9f, 0x05, 0x73, 0xbd, 0xfd, 0x7c, 0x06, 0x3d,
    0xc4, 0xa6, 0xcc, 0x3d, 0x27, 0x67, 0x60, 0xbd, 0xd8, 0x37,
    0x4a, 0x3b, 0xcc, 0x1b, 0xae, 0x3d, 0x15, 0x06, 0x73, 0xbd,
    0x27, 0x67, 0x60, 0xbd, 0x2b, 0x67, 0x60, 0xbd, 0xb5, 0x0d,
    0xe1, 0x3d, 0x6a, 0x4b, 0xdb, 0x3d, 0x13, 0x06, 0x73, 0xbd,
    0x95, 0xfc, 0x74, 0x3d, 0x75, 0x91, 0xa3, 0x3d, 0x11, 0x06,
    0x73, 0xbd, 0xd6, 0x28, 0x2a, 0x3d, 0x28, 0x67, 0x60, 0xbd,
    0x24, 0xfa, 0xde, 0x3d, 0x0e, 0x06, 0x73, 0xbd, 0x4c, 0x9b,
    0xab, 0x3d, 0x29, 0x67, 0x60, 0xbd, 0x14, 0x06, 0x73, 0xbd,
    0x5e, 0x6a, 0x81, 0xbd, 0x48, 0x6c, 0x9b, 0x3d, 0x1d, 0x78,
    0xb2, 0x3d, 0x00, 0x04, 0xac, 0x3d, 0x93, 0x79, 0xa7, 0x3d,
    0x10, 0x7a, 0xb4, 0x3d, 0x2c, 0x4d, 0xa7, 0x3d, 0x12, 0x06,
    0x73, 0xbd, 0x93, 0x90, 0xa4, 0x3d, 0x2c, 0x67, 0x60, 0xbd,
    0x61, 0x29, 0x08, 0x3d, 0x28, 0x67, 0x60, 0xbd, 0x0f, 0x06,
    0x73, 0xbd, 0xc1, 0x53, 0xae, 0x3d, 0x10, 0x06, 0x73, 0xbd,
    0xf9, 0x35, 0xb9, 0x3d, 0x6b, 0x70, 0xbb, 0x3d, 0xe9, 0xa6,
    0xa8, 0x3d, 0x53, 0x00, 0xa8, 0x3d, 0x27, 0x67, 0x60, 0xbd,
    0x93, 0x02, 0x6d, 0x3d, 0x85, 0xfe, 0x38, 0x3e, 0x50, 0x6e,
    0x22, 0x3e, 0x4c, 0xe8, 0x08, 0x3e, 0xaf, 0x00, 0x98, 0xbd,
    0x81, 0xfd, 0x20, 0xbe, 0x98, 0x36, 0xd5, 0xbd, 0xbb, 0xcc,
    0x19, 0x3d, 0x5d, 0xa2, 0x1c, 0xbc, 0x58, 0xf9, 0xf3, 0x3c,
    0x57, 0x49, 0x4c, 0xbe, 0x57, 0xe4, 0xbb, 0x3d, 0x16, 0x63,
    0x22, 0x3e, 0xed, 0x21, 0xdb, 0x3d, 0xdb, 0xb4, 0x03, 0x3e,
    0x9f, 0x77, 0x5f, 0xbe, 0x82, 0xe7, 0x05, 0x3c, 0x49, 0x04,
    0x9b, 0x3d, 0x5f, 0xb4, 0xa5, 0x3c, 0x4f, 0xa9, 0xca, 0xbc,
    0x51, 0x18, 0x9c, 0xbd, 0x1a, 0x9f, 0xae, 0xbd, 0x8b, 0xd3,
    0x3d, 0x3e, 0xfa, 0xfd, 0x2a, 0xbd, 0xfb, 0x77, 0x86, 0xbd,
    0x24, 0xd5, 0x15, 0xbe, 0x71, 0x5c, 0x89, 0xbd, 0x65, 0x22,
    0x9f, 0xbd, 0x55, 0x9e, 0x01, 0x3e, 0xaa, 0x0e, 0x58, 0xbd,
    0x21, 0x45, 0x0a, 0xbe, 0x9b, 0x2e, 0x49, 0x3e, 0xd8, 0xe3,
    0x5b, 0x3e, 0x10, 0x85, 0x1f, 0x3d, 0xb7, 0xd0, 0x1f, 0x3d,
    0xa3, 0x70, 0x23, 0xbe, 0xeb, 0xff, 0xdf, 0x3d, 0x50, 0x3d,
    0xec, 0x3d, 0x32, 0x5b, 0xd9, 0x3d, 0x09, 0x34, 0x25, 0xbe,
    0xb2, 0x10, 0x57, 0xbe, 0x10, 0x82, 0xfe, 0x3d, 0x19, 0xa4,
    0x5d, 0x3e, 0x8c, 0x16, 0x24, 0xbd, 0xc2, 0xeb, 0xdc, 0x3c,
    0x0b, 0xbf, 0xa9, 0xbd, 0x7d, 0xc3, 0xd0, 0x3d, 0x16, 0x0e,
    0xda, 0xbd, 0x91, 0x1a, 0xdd, 0x3d, 0xc5, 0x55, 0xf0, 0xbd,
    0xa8, 0xe5, 0x55, 0xbd, 0xcc, 0x5f, 0x81, 0xbd, 0x73, 0x26,
    0xbc, 0xbb, 0x3d, 0x98, 0x7c, 0x3e, 0xf5, 0x7a, 0xea, 0x3d,
    0x0c, 0x4d, 0x31, 0xbe, 0x1e, 0x4e, 0x65, 0xbe, 0x76, 0x25,
    0xe8, 0xbd, 0x2f, 0x5b, 0x44, 0xbe, 0x3b, 0xab, 0x7b, 0x3c,
    0x82, 0x65, 0x57, 0xbd, 0x8b, 0xf3, 0xa7, 0xbd, 0xf0, 0xf4,
    0x0d, 0x3e, 0x82, 0x35, 0x26, 0x3e, 0x4b, 0xe4, 0x91, 0x3d,
    0xd7, 0x35, 0xf5, 0x3d, 0x09, 0xa3, 0xb4, 0xbd, 0x15, 0xd1,
    0xfa, 0xbd, 0x3a, 0xbb, 0x40, 0x3e, 0xc8, 0xaa, 0x1b, 0x3e,
    0x14, 0xc8, 0x7c, 0xbd, 0x4b, 0xa5, 0x64, 0xbd, 0xb2, 0x11,
    0xd8, 0xbc, 0xef, 0xf0, 0xe0, 0xbd, 0x49, 0xa5, 0xb2, 0x3d,
    0x8a, 0x37, 0xa5, 0xbd, 0x4b, 0x20, 0x6b, 0xbd, 0x4c, 0xbc,
    0x16, 0x3e, 0x1a, 0x9e, 0x14, 0xbe, 0xea, 0x09, 0x1a, 0x3e,
    0xe4, 0x39, 0x0f, 0xbc, 0xd2, 0x7b, 0x15, 0x3e, 0xdb, 0xa7,
    0x37, 0xbe, 0xb3, 0xa3, 0x5a, 0x3c, 0xd6, 0xf8, 0xc4, 0xbd,
    0x56, 0xe7, 0xa3, 0xbc, 0x52, 0xc7, 0x85, 0xbd, 0x80, 0x53,
    0x14, 0x3e, 0x41, 0xb1, 0x27, 0xbe, 0x81, 0x42, 0x45, 0xbe,
    0x86, 0x7f, 0x79, 0x3d, 0xae, 0xd5, 0xff, 0xbc, 0xf8, 0x62,
    0x15, 0xbe, 0x8c, 0x1e, 0x89, 0xbd, 0x8d, 0x09, 0x28, 0xbe,
    0xa8, 0x08, 0x40, 0xbe, 0xae, 0xfa, 0xa9, 0x3d, 0xc7, 0xa6,
    0x89, 0x3c, 0xac, 0x4b, 0x5f, 0xbe, 0xe1, 0xb6, 0x08, 0xbe,
    0xad, 0x3f, 0x43, 0x3e, 0x53, 0x39, 0x83, 0x3d, 0x62, 0xa1,
    0x2a, 0xbe, 0x8e, 0xca, 0xd5, 0x3d, 0x4e, 0x1e, 0x39, 0x3d,
    0x09, 0xe8, 0x2a, 0xbe, 0x8c, 0x4b, 0xf0, 0xbd, 0x7d, 0x59,
    0xa0, 0x3d, 0xd3, 0x5a, 0x06, 0x3d, 0xf2, 0xcd, 0xa0, 0x3d,
    0x03, 0xcb, 0x7f, 0xbd, 0x9e, 0x01, 0xe5, 0x3d, 0x49, 0x66,
    0x22, 0x3e, 0xb8, 0x05, 0xcf, 0xbd, 0xfa, 0xc5, 0x7c, 0x3c,
    0xbf, 0xa8, 0x45, 0x3e, 0xae, 0xe5, 0x3c, 0x3d, 0x06, 0x77,
    0x14, 0xbe, 0xf6, 0xb5, 0x3b, 0xbe, 0x94, 0x9e, 0x44, 0xbc,
    0x33, 0x17, 0x18, 0xbe, 0x18, 0x32, 0xad, 0xbc, 0x1e, 0xbb,
    0x5b, 0x3e, 0xb7, 0x2f, 0x72, 0xbe, 0x05, 0x54, 0xc2, 0x3d,
    0xfa, 0x8d, 0x93, 0xbd, 0xfa, 0xf1, 0x88, 0x3d, 0xd4, 0xcc,
    0x80, 0xbe, 0x2e, 0xb2, 0x84, 0x3c, 0xb5, 0xcb, 0xd0, 0xbd,
    0x69, 0xfd, 0xdf, 0x3d, 0x08, 0x5b, 0x29, 0x3e, 0xae, 0x7d,
    0xf3, 0x3c, 0x83, 0xed, 0x0e, 0x3e, 0x6a, 0xae, 0x35, 0xbd,
    0xef, 0x19, 0x5d, 0x3e, 0x58, 0x48, 0x4c, 0xbe, 0xdf, 0x8c,
    0xf0, 0x3d, 0x25, 0x68, 0xf2, 0xbd, 0x07, 0x99, 0x05, 0x3e,
    0x6f, 0x0f, 0x81, 0x3d, 0x3a, 0xd8, 0xa0, 0x3d, 0xd4, 0xf6,
    0x3a, 0x3e, 0x3a, 0x07, 0x0b, 0x3c, 0x2a, 0xa1, 0xd4, 0x3d,
    0xcc, 0xb1, 0x58, 0x3e, 0x88, 0xd1, 0xd1, 0x3d, 0xc2, 0x99,
    0x27, 0x3c, 0xc0, 0x68, 0xd7, 0x3d, 0x89, 0x93, 0x48, 0xbe,
    0xda, 0xd5, 0x2f, 0xbe, 0x76, 0x2f, 0x87, 0x3e, 0xfb, 0x8c,
    0x58, 0x3e, 0xe1, 0x74, 0x16, 0xbe, 0x27, 0xa4, 0xa6, 0x3d,
    0xfc, 0xe0, 0x9c, 0x3d, 0xb6, 0x33, 0xfd, 0x3d, 0x70, 0xb3,
    0xae, 0x3d, 0x2b, 0x1c, 0x8f, 0x3d, 0x0d, 0xf8, 0x54, 0xbe,
    0x8a, 0x5a, 0x12, 0x3e, 0xad, 0x43, 0x85, 0x3d, 0x47, 0xf0,
    0x2f, 0x3e, 0x13, 0xd7, 0x1c, 0xbe, 0xd2, 0x10, 0x73, 0xbc,
    0x31, 0x85, 0x4d, 0xbd, 0x2b, 0xeb, 0xc3, 0xbd, 0x8f, 0x17,
    0xfd, 0xbd, 0x19, 0xe2, 0x5a, 0x3e, 0x3b, 0x50, 0x68, 0x3d,
    0xa7, 0xaf, 0xe5, 0x3c, 0x7a, 0x16, 0x17, 0xbc, 0x33, 0x42,
    0x35, 0x3e, 0xad, 0x96, 0x05, 0xbd, 0x44, 0xb1, 0xa0, 0xbd,
    0xf2, 0x76, 0xc9, 0x3d, 0xb4, 0xc6, 0x18, 0x3e, 0x61, 0x16,
    0x0d, 0x3e, 0x08, 0x20, 0x29, 0xbd, 0x68, 0xd0, 0x28, 0x3e,
    0xe9, 0x96, 0x9d, 0x3d, 0xed, 0x36, 0x41, 0xbe, 0xf3, 0x1a,
    0x48, 0xbd, 0xdf, 0xa7, 0x58, 0x3d, 0x9c, 0xaa, 0x2c, 0x3e,
    0x01, 0xe8, 0x40, 0x3e, 0x90, 0x20, 0x9b, 0xbb, 0x08, 0x59,
    0xb1, 0xbd, 0x02, 0xe3, 0x18, 0x3d, 0xd4, 0xde, 0x95, 0x3d,
    0x8d, 0x61, 0x74, 0x3d, 0x0d, 0xd4, 0x0d, 0xbe, 0x38, 0x2c,
    0x70, 0x3e, 0xfc, 0xb4, 0x26, 0x3e, 0x57, 0xe5, 0x3f, 0x3e,
    0x7f, 0x20, 0xb3, 0x3d, 0x65, 0xcc, 0xa8, 0x3d, 0x73, 0x2d,
    0xd1, 0x3d, 0x12, 0x23, 0x7e, 0xbd, 0x46, 0x12, 0x51, 0x3e,
    0xf0, 0x5b, 0xb6, 0xbd, 0xe1, 0xa6, 0xc3, 0x3d, 0x1b, 0x97,
    0xaf, 0xbd, 0xc3, 0xcb, 0xf1, 0xbc, 0x70, 0x79, 0x55, 0x3e,
    0xde, 0x61, 0x67, 0x3d, 0x8d, 0xbe, 0xe3, 0x3d, 0x3c, 0x1a,
    0x70, 0x3d, 0x90, 0x73, 0xc1, 0xbd, 0x4c, 0xab, 0x03, 0x3e,
    0x70, 0xd6, 0x18, 0x3d, 0x0d, 0xed, 0x0c, 0x3e, 0xeb, 0x65,
    0xd5, 0x3d, 0x9f, 0xfd, 0xd0, 0xbb, 0x48, 0xb7, 0xf9, 0x3d,
    0x3e, 0x96, 0x3d, 0xbd, 0xc9, 0x17, 0x3e, 0x3e, 0x30, 0x64,
    0x7e, 0x3e, 0xf7, 0x88, 0x9c, 0x3d, 0x7c, 0x1b, 0x11, 0xbe,
    0x6a, 0x89, 0x45, 0xbd, 0x19, 0x58, 0x13, 0xbe, 0x01, 0xa2,
    0xeb, 0x3d, 0x33, 0xfe, 0x01, 0xbd, 0xba, 0xad, 0xa4, 0xbb,
    0x7c, 0xf9, 0x99, 0xbb, 0x8d, 0x12, 0x94, 0xbd, 0xff, 0x3a,
    0x16, 0xbe, 0xf3, 0x3a, 0x15, 0x3e, 0x73, 0xa4, 0xb6, 0x3d,
    0xff, 0xbd, 0xb9, 0x3d, 0x84, 0xce, 0xb8, 0xbd, 0x9b, 0x50,
    0x17, 0x3e, 0xef, 0x5e, 0x12, 0x3e, 0x50, 0xe7, 0xbe, 0xbd,
    0x60, 0x89, 0x78, 0xbd, 0xb0, 0xff, 0x30, 0xbe, 0x9b, 0x5d,
    0x58, 0x3e, 0x64, 0xdd, 0x5e, 0x3e, 0xbd, 0x93, 0x04, 0x3e,
    0xf2, 0xd5, 0x71, 0x3e, 0x88, 0x1b, 0x15, 0x3e, 0x98, 0xc4,
    0x57, 0x3d, 0x3a, 0x45, 0xa8, 0xbd, 0x1b, 0x2d, 0xe7, 0xbd,
    0x7a, 0xc9, 0x0e, 0x3e, 0x55, 0x6f, 0xd3, 0xbd, 0xa5, 0xe6,
    0x90, 0xbd, 0xc9, 0x83, 0xdb, 0xbd, 0xdc, 0x23, 0xb6, 0xbc,
    0xc4, 0x4e, 0xbe, 0x3d, 0x8d, 0x23, 0x0b, 0x3e, 0x36, 0x98,
    0x24, 0x3e, 0xf4, 0x55, 0x0d, 0x3e, 0xed, 0x7d, 0x8b, 0xbd,
    0xbe, 0x75, 0xac, 0xbd, 0x30, 0x62, 0xe8, 0xbc, 0x24, 0x62,
    0xe8, 0x3c, 0x6d, 0xb1, 0x28, 0x3e, 0xf9, 0x84, 0xe0, 0x3d,
    0x3c, 0x68, 0x18, 0xbe, 0x29, 0x26, 0x0c, 0xbc, 0x25, 0xb3,
    0x5b, 0x3d, 0x9a, 0xd5, 0x06, 0x3b, 0xac, 0x7e, 0xff, 0xbd,
    0x47, 0x4d, 0x1b, 0xbe, 0x3c, 0xfa, 0x04, 0xbd, 0xaa, 0x46,
    0x2d, 0x3d, 0xad, 0xbf, 0x15, 0x3e, 0x4a, 0x7f, 0xff, 0xbd,
    0xdc, 0x56, 0x81, 0x3e, 0x01, 0x0d, 0x88, 0xbd, 0x23, 0xc6,
    0x15, 0x3e, 0x5c, 0x16, 0x36, 0x3c, 0xf4, 0xc2, 0x65, 0x3e,
    0x8e, 0xa6, 0x5e, 0x3e, 0x5d, 0xeb, 0x8c, 0xbd, 0x40, 0x76,
    0x1f, 0x3e, 0xba, 0xe5, 0xc0, 0x3d, 0x68, 0x9f, 0x22, 0xbd,
    0x01, 0x49, 0x51, 0x3e, 0x58, 0x0b, 0x0d, 0xbe, 0x9c, 0xd3,
    0xaf, 0x3c, 0xa9, 0xf0, 0x70, 0x3e, 0x32, 0xe6, 0x3d, 0x3e,
    0x35, 0x5f, 0xe6, 0xbd, 0x5e, 0xb8, 0x94, 0xbd, 0x7b, 0x7b,
    0x13, 0xbd, 0xb9, 0xf5, 0x66, 0x3c, 0xab, 0x66, 0xdd, 0xbd,
    0x7e, 0x34, 0x19, 0x3c, 0xe9, 0xb4, 0x64, 0x3e, 0xf4, 0x68,
    0x3b, 0x3e, 0xeb, 0x09, 0x85, 0x3e, 0xbf, 0x1b, 0x0d, 0xbe,
    0x58, 0x2a, 0x46, 0x3d, 0x2b, 0x46, 0xf8, 0x3d, 0x17, 0x06,
    0xa5, 0x3d, 0xc0, 0xbf, 0xc5, 0xbd, 0xa5, 0x1e, 0x00, 0xbd,
    0x06, 0x08, 0x5d, 0xbc, 0x6b, 0x61, 0xd7, 0xbd, 0x42, 0xb8,
    0xeb, 0x3d, 0x96, 0x70, 0x10, 0x3d, 0x57, 0xde, 0xd9, 0x3d,
    0x8c, 0x73, 0xd5, 0xbc, 0x6a, 0x6f, 0x51, 0x3d, 0x69, 0x44,
    0x3e, 0xbd, 0x4f, 0x18, 0x16, 0x3e, 0xd1, 0x1a, 0x05, 0x3e,
    0x37, 0x95, 0xa5, 0xbd, 0xd8, 0x93, 0x55, 0xbd, 0x41, 0x9a,
    0x25, 0x3e, 0xd5, 0x54, 0x87, 0x3e, 0x67, 0x3f, 0x00, 0x3e,
    0x87, 0xcc, 0x00, 0xbd, 0x04, 0xad, 0x8b, 0x3d, 0xe1, 0xb9,
    0x09, 0xbe, 0x8f, 0xd7, 0x95, 0xbd, 0x61, 0x70, 0x0f, 0x3d,
    0xbd, 0x1e, 0x88, 0xbd, 0x3d, 0x60, 0x5b, 0x3e, 0x9f, 0xe1,
    0x3b, 0x3d, 0x5f, 0x50, 0xa1, 0xbc, 0x4d, 0x34, 0xf3, 0x3d,
    0x31, 0x12, 0x0a, 0x3c, 0x9f, 0xad, 0x13, 0x3e, 0xdc, 0x87,
    0x16, 0x3e, 0xbe, 0x7f, 0x1b, 0x3e, 0xad, 0x04, 0x38, 0x3e,
    0xd5, 0xa3, 0x7d, 0x3e, 0xb7, 0x59, 0x84, 0x3e, 0xab, 0x1d,
    0x8a, 0xbd, 0x07, 0x90, 0x16, 0x3e, 0x2a, 0x1c, 0x8a, 0x3d,
    0xe3, 0x16, 0x6c, 0x3d, 0x8e, 0xc4, 0x44, 0xbc, 0xeb, 0xfe,
    0x6d, 0x3e, 0xd2, 0x8e, 0x8e, 0x3e, 0xae, 0xdc, 0x95, 0xbd,
    0x45, 0x7c, 0x27, 0x3e, 0x73, 0x6d, 0xc2, 0x3d, 0x55, 0x83,
    0x94, 0x3d, 0xe3, 0x36, 0x2e, 0xbd, 0x22, 0x3f, 0x68, 0x3d,
    0x23, 0xdc, 0x07, 0x3d, 0x01, 0xaa, 0x14, 0x3e, 0xf4, 0x44,
    0x76, 0xba, 0x5c, 0xff, 0xed, 0x3b, 0x9c, 0xf2, 0x57, 0x3e,
    0xbb, 0xac, 0x87, 0xbd, 0xe0, 0x1b, 0x4f, 0x3c, 0xdb, 0xab,
    0x45, 0xbd, 0x9d, 0x9d, 0x75, 0x3e, 0x2f, 0x09, 0x61, 0x3e,
    0x2b, 0x04, 0xac, 0xbd, 0x1a, 0x96, 0xd0, 0x3d, 0x62, 0x52,
    0x22, 0x3e, 0x08, 0x65, 0x11, 0xbe, 0x36, 0x1f, 0x41, 0x3d,
    0x61, 0x30, 0x0a, 0xbd, 0xb3, 0x99, 0x82, 0x3e, 0x90, 0x87,
    0xd6, 0x3c, 0x9b, 0x2d, 0x3d, 0x3e, 0x63, 0x16, 0x8a, 0xbd,
    0xc7, 0x19, 0x17, 0xbd, 0xfa, 0xde, 0x1c, 0xbd, 0x8c, 0x15,
    0x02, 0x3e, 0x4d, 0xfb, 0x5d, 0x3e, 0x9b, 0x5d, 0x49, 0x3e,
    0xac, 0x2e, 0x37, 0x3e, 0xeb, 0x16, 0x73, 0x3e, 0xce, 0x78,
    0x55, 0x3e, 0xce, 0xf4, 0xf1, 0xbb, 0x3a, 0xe1, 0x2d, 0x3e,
    0x93, 0xca, 0x4b, 0xbd, 0xf5, 0x3a, 0x28, 0x3d, 0xbc, 0xa4,
    0xff, 0xbb, 0x45, 0x1f, 0x2a, 0x3d, 0xd3, 0xd6, 0x7f, 0x3e,
    0x19, 0xda, 0xe3, 0x3c, 0x9d, 0x42, 0xe4, 0x3d, 0x92, 0x99,
    0xff, 0x3d, 0xc9, 0x44, 0x32, 0x3e, 0x2d, 0x47, 0x3e,
    0x3e, 0x60, 0x88, 0xc8, 0x3c, 0xac, 0x15, 0xfd, 0x3d
  };

  // Chunk of memory used to hold intermediate values for neural network
  AI_ALIGNED(4) ai_u8 activations[128];

  // Buffers used to store input and output tensors
  AI_ALIGNED(4) ai_i8 in_data[AI_ZEPHYRUS_NETWORK_IN_1_SIZE_BYTES];
  AI_ALIGNED(4) ai_i8 out_data[AI_ZEPHYRUS_NETWORK_OUT_1_SIZE_BYTES];

  // Pointer to our model
  ai_handle z_model = AI_HANDLE_NULL;

  // Initialize wrapper structs that hold pointers to data and info about the
  // data (tensor height, width, channels)
  ai_buffer ai_input[AI_ZEPHYRUS_NETWORK_IN_NUM] = AI_ZEPHYRUS_NETWORK_IN;
  ai_buffer ai_output[AI_ZEPHYRUS_NETWORK_OUT_NUM] = AI_ZEPHYRUS_NETWORK_OUT;

  // Set working memory and get weights/biases from model
  ai_network_params ai_params = {
    AI_ZEPHYRUS_NETWORK_DATA_WEIGHTS(s_zephyrus_network_weights),
    AI_ZEPHYRUS_NETWORK_DATA_ACTIVATIONS(activations)
  };

  // Set pointers wrapper structs to our data buffers
  //ai_input[0].n_batches = 1;
  //ai_input[0].data = AI_HANDLE_PTR(in_data);
  //ai_output[0].n_batches = 1;
  //ai_output[0].data = AI_HANDLE_PTR(out_data);

/* USER CODE END PTD */

void SystemClock_Config(void);

int main(void)
{

  /* Enable I-Cache---------------------------------------------------------*/
  SCB_EnableICache();

  /* Enable D-Cache---------------------------------------------------------*/
  SCB_EnableDCache();

  /* MCU Configuration--------------------------------------------------------*/

  /* Reset of all peripherals, Initializes the Flash interface and the Systick. */
  HAL_Init();

  /* Configure the system clock */
  SystemClock_Config();

  /* Initialize all configured peripherals */
  MX_GPIO_Init();
  MX_CRC_Init();
  MX_TIM14_Init();
  MX_USART3_UART_Init();
  MX_X_CUBE_AI_Init();
  /* USER CODE BEGIN 2 */

	  // Start timer/counter
  HAL_TIM_Base_Start(&htim14);

	  // Greetings!
  buf_len = sprintf(buf, "\r\n\r\nSTM32 X-Cube-AI test\r\n");
  HAL_UART_Transmit(&huart3, (uint8_t *)buf, buf_len, 100);

	  // Create instance of neural network
  ai_err = ai_zephyrus_network_create(&z_model, AI_ZEPHYRUS_NETWORK_DATA_CONFIG);
  if (ai_err.type != AI_ERROR_NONE)
  {
    buf_len = sprintf(buf, "Error: could not create NN instance\r\n");
    HAL_UART_Transmit(&huart3, (uint8_t *)buf, buf_len, 100);
    while(1);
  }

  // Initialize neural network
  if (!ai_zephyrus_network_init(z_model, &ai_params))
  {
    buf_len = sprintf(buf, "Error: could not initialize NN\r\n");
    HAL_UART_Transmit(&huart3, (uint8_t *)buf, buf_len, 100);
    while(1);
  }
  /* USER CODE END 2 */

  /* Infinite loop */
  /* USER CODE BEGIN WHILE */
  while (1)
  {
    // Fill input buffer (use test value)
    for (uint32_t i = 0; i < AI_ZEPHYRUS_NETWORK_IN_1_SIZE; i++)
    {
      ((ai_float *)in_data)[i] = (ai_float)2.0f;
    }
		 // Get current timestamp
    timestamp = htim14.Instance->CNT;

    // Perform inference
    nbatch = ai_zephyrus_network_run(z_model, &ai_input[0], &ai_output[0]);
    if (nbatch != 1) {
      buf_len = sprintf(buf, "Error: could not run inference\r\n");
      HAL_UART_Transmit(&huart3, (uint8_t *)buf, buf_len, 100);
    }

		 // Read output (predicted y) of neural network
    y_val = ((float *)out_data)[0];

    // Print output of neural network along with inference time (microseconds)
    buf_len = sprintf(buf,
                      "Output: %f | Duration: %lu\r\n",
                      y_val,
                      (unsigned long) htim14.Instance->CNT - timestamp);
    HAL_UART_Transmit(&huart3, (uint8_t *)buf, buf_len, 100);

    // Wait before doing it again
    HAL_Delay(500);

    /* USER CODE END WHILE */

  //MX_X_CUBE_AI_Process();
  }
}

void SystemClock_Config(void)
{
  RCC_OscInitTypeDef RCC_OscInitStruct = {0};
  RCC_ClkInitTypeDef RCC_ClkInitStruct = {0};
  RCC_PeriphCLKInitTypeDef PeriphClkInitStruct = {0};

  /** Configure LSE Drive Capability
  */
  HAL_PWR_EnableBkUpAccess();
  /** Configure the main internal regulator output voltage
  */
  __HAL_RCC_PWR_CLK_ENABLE();
  __HAL_PWR_VOLTAGESCALING_CONFIG(PWR_REGULATOR_VOLTAGE_SCALE1);
  /** Initializes the CPU, AHB and APB busses clocks
  */
  RCC_OscInitStruct.OscillatorType = RCC_OSCILLATORTYPE_HSI;
  RCC_OscInitStruct.HSIState = RCC_HSI_ON;
  RCC_OscInitStruct.HSICalibrationValue = RCC_HSICALIBRATION_DEFAULT;
  RCC_OscInitStruct.PLL.PLLState = RCC_PLL_ON;
  RCC_OscInitStruct.PLL.PLLSource = RCC_PLLSOURCE_HSI;
  RCC_OscInitStruct.PLL.PLLM = 8;
  RCC_OscInitStruct.PLL.PLLN = 216;
  RCC_OscInitStruct.PLL.PLLP = RCC_PLLP_DIV2;
  RCC_OscInitStruct.PLL.PLLQ = 2;
  if (HAL_RCC_OscConfig(&RCC_OscInitStruct) != HAL_OK)
  {
    Error_Handler();
  }
  /** Activate the Over-Drive mode
  */
  if (HAL_PWREx_EnableOverDrive() != HAL_OK)
  {
    Error_Handler();
  }
  /** Initializes the CPU, AHB and APB busses clocks
  */
  RCC_ClkInitStruct.ClockType = RCC_CLOCKTYPE_HCLK|RCC_CLOCKTYPE_SYSCLK
                              |RCC_CLOCKTYPE_PCLK1|RCC_CLOCKTYPE_PCLK2;
  RCC_ClkInitStruct.SYSCLKSource = RCC_SYSCLKSOURCE_PLLCLK;
  RCC_ClkInitStruct.AHBCLKDivider = RCC_SYSCLK_DIV1;
  RCC_ClkInitStruct.APB1CLKDivider = RCC_HCLK_DIV4;
  RCC_ClkInitStruct.APB2CLKDivider = RCC_HCLK_DIV2;

  if (HAL_RCC_ClockConfig(&RCC_ClkInitStruct, FLASH_LATENCY_7) != HAL_OK)
  {
    Error_Handler();
  }
  PeriphClkInitStruct.PeriphClockSelection = RCC_PERIPHCLK_USART3;
  PeriphClkInitStruct.Usart3ClockSelection = RCC_USART3CLKSOURCE_PCLK1;
  if (HAL_RCCEx_PeriphCLKConfig(&PeriphClkInitStruct) != HAL_OK)
  {
    Error_Handler();
  }
}

void Error_Handler(void)
{
}

/************************ (C) COPYRIGHT STMicroelectronics *****END OF FILE****/
